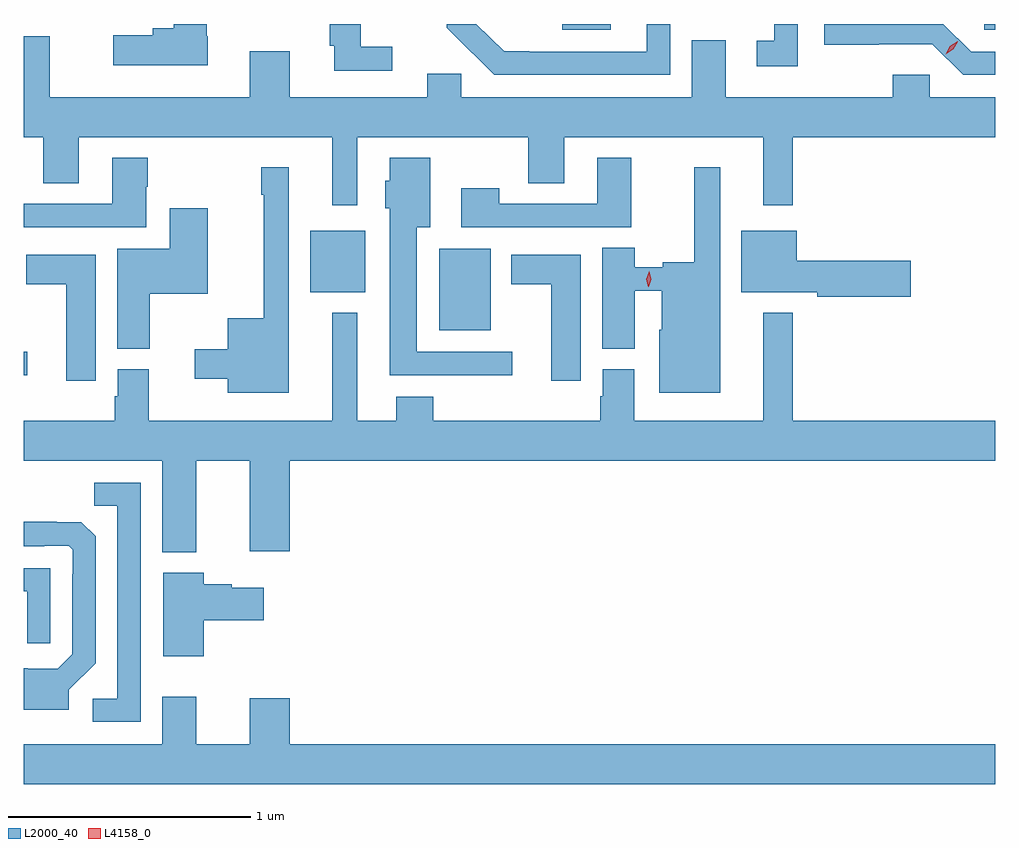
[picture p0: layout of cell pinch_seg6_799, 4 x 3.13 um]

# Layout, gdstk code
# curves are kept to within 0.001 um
import gdstk
lib = gdstk.Library(unit=1e-6, precision=1e-09)
def R(c, l, rs):  # rectangles x0, y0, x1, y1
    for r in rs: c.add(gdstk.rectangle(r[:2], r[2:], *l))
def P(c, l, *ps):  # polygons
    for p in ps: c.add(gdstk.Polygon(p, *l))
L2000_40 = (2000, 40)
L4158_0 = (4158, 0)

pinch_seg6_799 = lib.new_cell('pinch_seg6_799')
R(pinch_seg6_799, L2000_40, [(128.114,972.995,128.128,973.092), (129.824,973.181,130.036,973.516), (129.293,973.337,129.52,973.591), (130.332,974.418,130.531,974.442), (132.069,974.418,132.114,974.442)])
P(pinch_seg6_799, L2000_40, [(131.301,974.442),(131.205,974.442),(131.205,974.373),(131.133,974.373),(131.133,974.268),(131.301,974.268)],
  [(129.631,974.349),(129.502,974.349),(129.502,974.442),(129.373,974.442),(129.373,974.353),(129.392,974.353),(129.392,974.25),(129.631,974.25)],
  [(130.776,974.442),(130.679,974.442),(130.679,974.328),(130.092,974.329),(129.978,974.442),(129.855,974.442),(129.855,974.427),(130.052,974.232),(130.776,974.232)],
  [(128.872,974.391),(128.867,974.391),(128.867,974.442),(128.732,974.442),(128.732,974.425),(128.645,974.425),(128.645,974.395),(128.483,974.395),(128.483,974.273),(128.872,974.273)],
  [(132.114,974.328),(132.015,974.328),(131.901,974.442),(131.411,974.442),(131.411,974.357),(131.634,974.357),(131.634,974.358),(131.856,974.358),(131.982,974.232),(132.114,974.232)],
  [(129.487,973.976),(130.192,973.976),(130.192,973.786),(130.339,973.786),(130.339,973.976),(131.159,973.976),(131.159,973.695),(131.281,973.695),(131.281,973.976),(132.114,973.976),(132.114,974.14),(131.844,974.14),(131.844,974.233),(131.693,974.233),(131.693,974.14),(131.005,974.14),(131.005,974.376),(130.865,974.376),(130.865,974.14),(129.915,974.14),(129.915,974.238),(129.776,974.238),(129.776,974.14),(129.208,974.14),(129.208,974.329),(129.044,974.329),(129.044,974.14),(128.221,974.14),(128.221,974.392),(128.114,974.392),(128.114,973.976),(128.194,973.976),(128.194,973.786),(128.341,973.786),(128.341,973.976),(129.383,973.976),(129.383,973.695),(129.487,973.695)],
  [(128.617,973.771),(128.625,973.771),(128.625,973.891),(128.477,973.891),(128.477,973.701),(128.114,973.701),(128.114,973.605),(128.617,973.605)],
  [(130.126,973.092),(129.733,973.092),(129.733,973.604),(129.787,973.604),(129.787,973.891),(129.62,973.891),(129.62,973.797),(129.602,973.797),(129.602,973.683),(129.62,973.683),(129.62,972.995),(130.126,972.995)],
  [(130.615,973.891),(130.475,973.891),(130.475,973.701),(130.071,973.701),(130.071,973.765),(129.915,973.765),(129.915,973.605),(130.615,973.605)],
  [(130.981,973.852),(130.875,973.852),(130.875,973.46),(130.746,973.46),(130.746,973.441),(130.63,973.441),(130.63,973.52),(130.496,973.52),(130.496,973.105),(130.63,973.105),(130.63,973.343),(130.742,973.343),(130.742,973.182),(130.73,973.182),(130.73,972.923),(130.981,972.923)],
  [(129.205,973.852),(129.091,973.852),(129.091,973.739),(129.101,973.739),(129.101,973.231),(128.954,973.231),(128.954,973.102),(128.817,973.102),(128.817,972.98),(128.954,972.98),(128.954,972.923),(129.205,972.923)],
  [(128.632,973.331),(128.872,973.331),(128.872,973.684),(128.714,973.684),(128.714,973.516),(128.498,973.516),(128.498,973.105),(128.632,973.105)],
  [(131.767,973.466),(131.296,973.466),(131.296,973.591),(131.069,973.591),(131.069,973.337),(131.382,973.337),(131.382,973.319),(131.767,973.319)],
  [(128.41,973.492),(128.123,973.492),(128.123,973.37),(128.288,973.37),(128.288,972.972),(128.41,972.972)],
  [(130.408,973.492),(130.121,973.492),(130.121,973.37),(130.286,973.37),(130.286,972.972),(130.408,972.972)],
  [(128.824,972.644),(129.044,972.644),(129.044,972.27),(129.208,972.27),(129.208,972.644),(132.114,972.644),(132.114,972.808),(131.281,972.808),(131.281,973.252),(131.159,973.252),(131.159,972.808),(130.627,972.808),(130.627,973.02),(130.499,973.02),(130.499,972.909),(130.487,972.909),(130.487,972.808),(129.8,972.808),(129.8,972.907),(129.647,972.907),(129.647,972.808),(129.487,972.808),(129.487,973.252),(129.383,973.252),(129.383,972.808),(128.629,972.808),(128.629,973.02),(128.501,973.02),(128.501,972.909),(128.489,972.909),(128.489,972.808),(128.114,972.808),(128.114,972.644),(128.684,972.644),(128.684,972.266),(128.824,972.266)],
  [(128.595,972.552),(128.404,972.552),(128.404,972.457),(128.499,972.457),(128.499,971.664),(128.397,971.664),(128.397,971.568),(128.595,971.568)],
  [(128.299,971.7),(128.409,971.81),(128.409,972.332),(128.35,972.391),(128.114,972.392),(128.114,972.291),(128.198,972.291),(128.198,972.294),(128.298,972.294),(128.316,972.276),(128.316,972.176),(128.313,972.176),(128.313,971.847),(128.253,971.787),(128.114,971.788),(128.114,971.618),(128.299,971.618)],
  [(128.223,972.201),(128.114,972.201),(128.114,972.105),(128.127,972.105),(128.127,971.892),(128.223,971.892)],
  [(128.854,971.987),(129.102,971.987),(129.102,972.121),(128.97,972.121),(128.97,972.134),(128.854,972.134),(128.854,972.181),(128.687,972.181),(128.687,971.838),(128.854,971.838)],
  [(132.114,971.476),(129.208,971.476),(129.208,971.665),(129.044,971.665),(129.044,971.476),(128.824,971.476),(128.824,971.671),(128.684,971.671),(128.684,971.476),(128.114,971.476),(128.114,971.312),(132.114,971.312)])
P(pinch_seg6_799, L4158_0, [(131.91,974.318),(131.91,974.318),(131.928,974.351),(131.96,974.37),(131.96,974.37),(131.96,974.369),(131.942,974.337),(131.91,974.318)],
  [(130.686,973.359),(130.678,973.391),(130.689,973.423),(130.689,973.423),(130.689,973.423),(130.698,973.39),(130.687,973.359),(130.687,973.359)])

lib.write_gds('pinch_seg6_799.gds')
